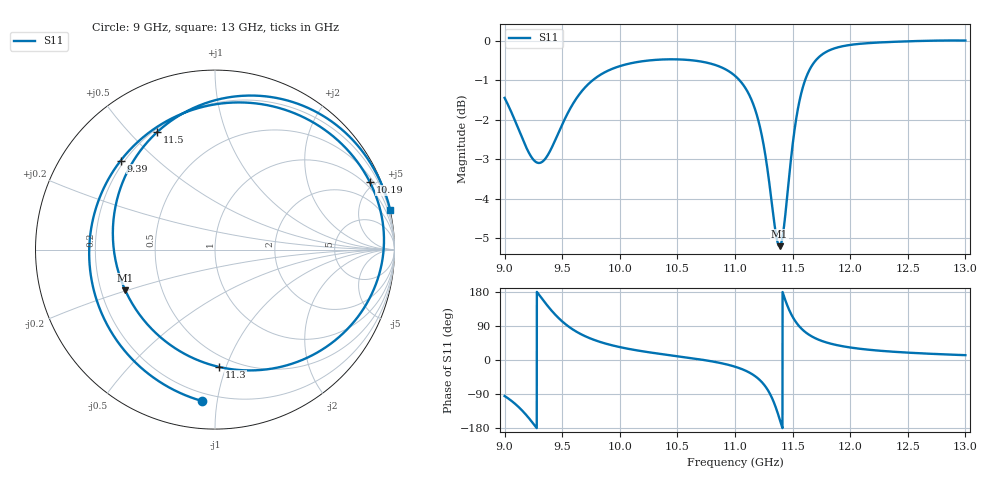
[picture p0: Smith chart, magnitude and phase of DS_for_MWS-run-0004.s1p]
! TOUCHSTONE file generated by CST DESIGN STUDIO
! Date and time: Tue Jan 28 13:43:14 2025
! Project name: C:\Work\MatlabApps\UnitCellOptimizationMatlab\CST\unitcell.cst
! Tree item: Tasks\Sweep1\SPara1\S-Parameters
! Header version: 2024
! Port assignment regex: !\s*Touchstone port\s*([0-9]+)\s*=\s*(CST MWS port|CST DES external port|CST DES block port)\s*(.+)\s* \(\"(.*)\"\)(\s*mode\s*([0-9]+))?.*
! Touchstone port assignment:
! Touchstone port 1 = CST DES external port 1 ("")
# GHz S MA R 50
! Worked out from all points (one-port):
!   4001 points, 9 GHz to 13 GHz, reference 50 ohm
!   lowest |S11| = -5.2 dB at 11.39 GHz (marker M1), VSWR 3.44, Z = 15.2 - j9.9 ohm
!   |S11| at or under -10 dB: nowhere
!   S11 on the Smith chart (normalised r, x): 9 GHz: 0.15, -0.90; 9.39 GHz: 0.19, +0.39; 10.19 GHz: 0.71, +4.69; 11.3 GHz: 0.41, -0.95; 11.5 GHz: 0.21, +0.60; 13 GHz: -0.01, +8.94
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9  0.8461 -95.1
9.119  0.7735 -123.3
9.234  0.7116 -162.1
9.31  0.7003 167.7
9.39  0.7226 136.7
9.5  0.7829 101.8
9.595  0.8325 80.0
9.724  0.8801 59.4
10  0.9283 34.0
10.185  0.9411 23.6
10.5  0.9468 9.9
10.8  0.9342 -3.6
11  0.9025 -17.7
11.099  0.8667 -29.2
11.176  0.8169 -42.9
11.24  0.749 -60.7
11.301  0.6546 -87.8
11.344  0.5834 -116.9
11.387  0.5491 -155.5
11.437  0.6021 157.6
11.496  0.7295 116.3
11.5  0.7378 114.1
11.575  0.8577 83.3
11.695  0.9417 57.7
11.822  0.9726 43.8
12  0.9876 33.0
12.5  0.998 19.4
13  1 12.8
